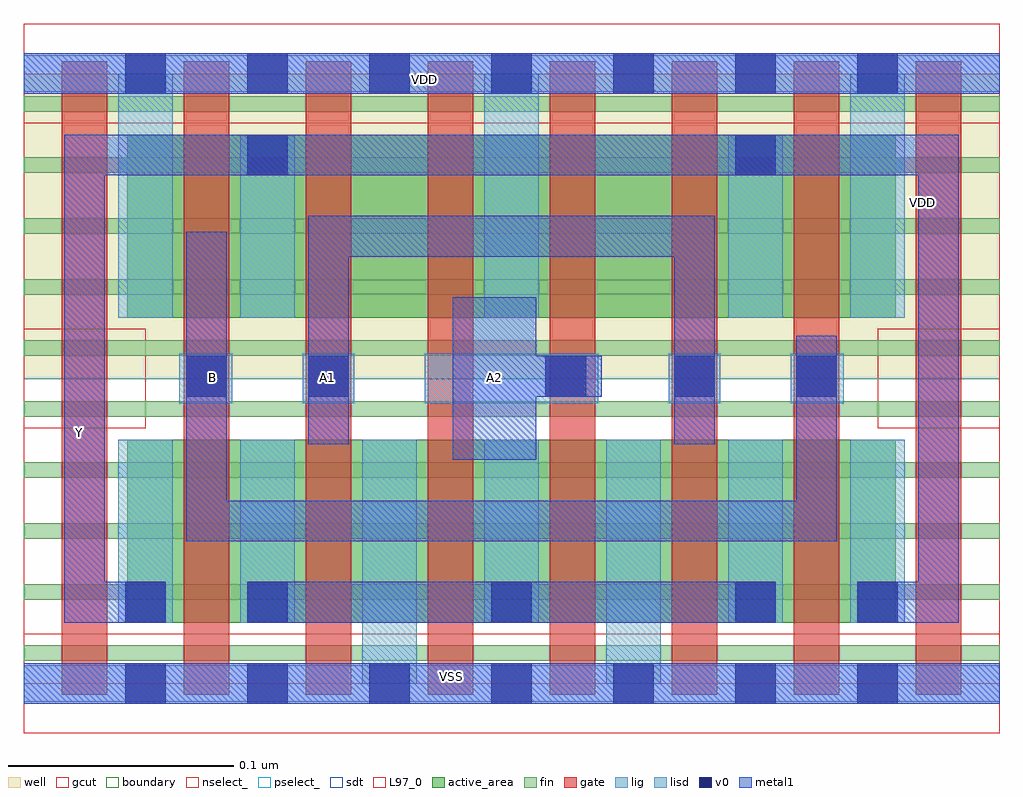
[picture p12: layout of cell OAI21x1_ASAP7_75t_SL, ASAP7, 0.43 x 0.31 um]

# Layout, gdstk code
import gdstk
lib = gdstk.Library(unit=1e-6, precision=2.5e-10)
def R(c, l, rs):  # rectangles x0, y0, x1, y1
    for r in rs: c.add(gdstk.rectangle(r[:2], r[2:], *l))
def A(c, l, x, y, w, h, nx, ny, dx, dy):  # array of equal rectangles
    R(c, l, [(x+i*dx, y+j*dy, x+i*dx+w, y+j*dy+h) for i in range(nx) for j in range(ny)])
def P(c, l, *ps):  # polygons
    for p in ps: c.add(gdstk.Polygon(p, *l))
well = (1, 0)
fin = (2, 0)
gate = (7, 0)
gcut = (10, 0)
active_area = (11, 0)
nselect_ = (12, 0)
pselect_ = (13, 0)
lig = (16, 0)
lisd = (17, 0)
v0 = (18, 0)
metal1 = (19, 0)
sdt = (88, 0)
L97_0 = (97, 0)
boundary = (100, 0)

oai21x1_asap7_75t_sl = lib.new_cell('OAI21x1_ASAP7_75t_SL')
R(oai21x1_asap7_75t_sl, well, [(0,0.135,0.432,0.27)])
A(oai21x1_asap7_75t_sl, fin, 0, 0.01, 0.432, 0.007, 1, 10, 0, 0.027)
A(oai21x1_asap7_75t_sl, gate, 0.017, -0.005, 0.02, 0.2805, 8, 1, 0.054, 0)
R(oai21x1_asap7_75t_sl, gcut, [(0,-0.022,0.432,0.022), (0,0.113,0.054,0.157), (0.378,0.113,0.432,0.157), (0,0.248,0.432,0.292)])
R(oai21x1_asap7_75t_sl, active_area, [(0.046,0.027,0.386,0.108), (0.046,0.162,0.386,0.243)])
R(oai21x1_asap7_75t_sl, nselect_, [(0,0,0.432,0.135)])
R(oai21x1_asap7_75t_sl, pselect_, [(0,0.135,0.432,0.27)])
R(oai21x1_asap7_75t_sl, lig, [(0,-0.008,0.432,0.008), (0.069,0.124,0.0925,0.146), (0.1235,0.124,0.1465,0.146), (0.1775,0.124,0.2545,0.146), (0.2855,0.124,0.3085,0.146), (0.3395,0.124,0.363,0.146), (0,0.262,0.432,0.278)])
A(oai21x1_asap7_75t_sl, lisd, 0.096, 0.027, 0.024, 0.081, 3, 1, 0.108, 0)
A(oai21x1_asap7_75t_sl, lisd, 0.042, 0.162, 0.024, 0.108, 3, 1, 0.162, 0)
R(oai21x1_asap7_75t_sl, lisd, [(0.15,0,0.174,0.108), (0.258,0,0.282,0.108), (0.042,0.027,0.066,0.108), (0.366,0.027,0.39,0.108), (0.096,0.162,0.12,0.243), (0.312,0.162,0.336,0.243)])
A(oai21x1_asap7_75t_sl, v0, 0.045, -0.009, 0.018, 0.018, 7, 2, 0.054, 0.27)
A(oai21x1_asap7_75t_sl, v0, 0.099, 0.027, 0.018, 0.018, 3, 1, 0.108, 0)
R(oai21x1_asap7_75t_sl, v0, [(0.045,0.027,0.063,0.045), (0.369,0.027,0.387,0.045), (0.072,0.127,0.09,0.145), (0.126,0.127,0.144,0.145), (0.231,0.127,0.249,0.145), (0.288,0.127,0.306,0.145), (0.342,0.127,0.36,0.145), (0.099,0.225,0.117,0.243), (0.315,0.225,0.333,0.243)])
R(oai21x1_asap7_75t_sl, metal1, [(0,-0.009,0.432,0.009), (0.099,0.027,0.333,0.045), (0,0.261,0.432,0.279)])
P(oai21x1_asap7_75t_sl, metal1, [(0.256,0.127),(0.227,0.127),(0.227,0.099),(0.19,0.099),(0.19,0.171),(0.227,0.171),(0.227,0.145),(0.256,0.145)],
  [(0.414,0.027),(0.369,0.027),(0.369,0.045),(0.396,0.045),(0.396,0.225),(0.036,0.225),(0.036,0.045),(0.063,0.045),(0.063,0.027),(0.018,0.027),(0.018,0.243),(0.414,0.243)],
  [(0.36,0.063),(0.072,0.063),(0.072,0.2),(0.09,0.2),(0.09,0.081),(0.342,0.081),(0.342,0.154),(0.36,0.154)],
  [(0.306,0.106),(0.288,0.106),(0.288,0.189),(0.144,0.189),(0.144,0.106),(0.126,0.106),(0.126,0.207),(0.306,0.207)])
A(oai21x1_asap7_75t_sl, sdt, 0.042, 0.027, 0.024, 0.081, 7, 1, 0.054, 0)
A(oai21x1_asap7_75t_sl, sdt, 0.096, 0.162, 0.024, 0.081, 3, 1, 0.108, 0)
R(oai21x1_asap7_75t_sl, sdt, [(0.042,0.162,0.066,0.243), (0.366,0.162,0.39,0.243)])
R(oai21x1_asap7_75t_sl, L97_0, [(0,0,0.432,0.27)])
R(oai21x1_asap7_75t_sl, boundary, [(0,0,0.432,0.27)])
oai21x1_asap7_75t_sl.add(gdstk.Label('VSS', (0.094,-0.038), layer=3, texttype=251))
oai21x1_asap7_75t_sl.add(gdstk.Label('VDD', (0.398,0.213), layer=1, texttype=251))
oai21x1_asap7_75t_sl.add(gdstk.Label('Y', (0.025,0.111), layer=19, texttype=251))
oai21x1_asap7_75t_sl.add(gdstk.Label('A2', (0.2085,0.1355), layer=19, texttype=251))
oai21x1_asap7_75t_sl.add(gdstk.Label('B', (0.0835,0.1355), layer=19, texttype=251))
oai21x1_asap7_75t_sl.add(gdstk.Label('A1', (0.1345,0.1355), layer=19, texttype=251))
oai21x1_asap7_75t_sl.add(gdstk.Label('Y', (0.025,0.111), layer=19, texttype=251))
oai21x1_asap7_75t_sl.add(gdstk.Label('A2', (0.2085,0.1355), layer=19, texttype=251))
oai21x1_asap7_75t_sl.add(gdstk.Label('VSS', (0.1895,0.003), layer=19, texttype=251))
oai21x1_asap7_75t_sl.add(gdstk.Label('VDD', (0.1775,0.2675), layer=19, texttype=251))

lib.write_gds('OAI21x1_ASAP7_75t_SL.gds')
